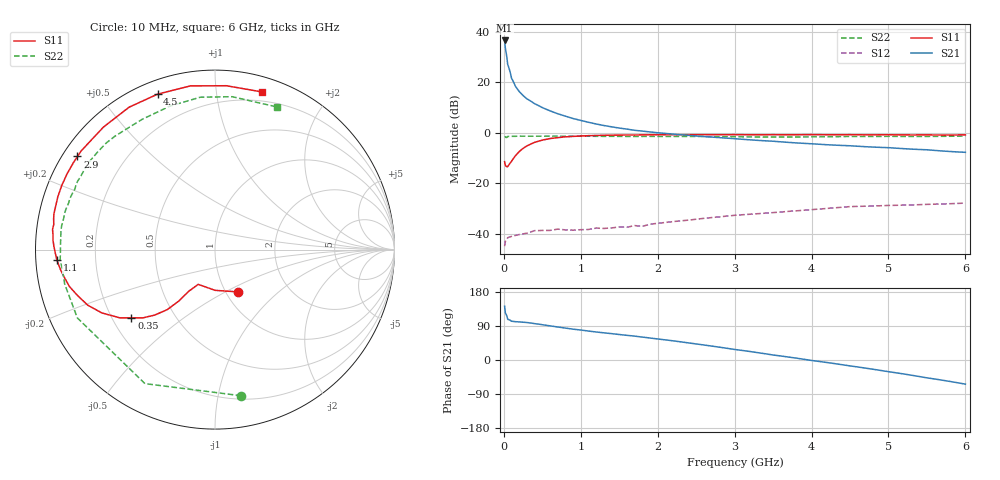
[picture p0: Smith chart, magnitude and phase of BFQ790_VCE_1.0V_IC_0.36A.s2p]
! (c) 2015  Infineon Technologies AG, Munich
! Infineon Technologies  Discrete & RF Semiconductors
! BFQ790
! VCE =  1.0 V,  IC = 0.36 A
! Common Emitter S-Parameters:  May 2015
# GHz  S  MA  R  50
!  f  S11  S21  S12  S22
! GHz  MAG  ANG  MAG  ANG  MAG  ANG  MAG  ANG
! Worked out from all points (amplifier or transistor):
!   77 points, 10 MHz to 6 GHz, reference 50 ohm
!   highest |S21| = 36.7 dB at 10 MHz (marker M1)
!   |S21| within 3 dB of that: start of sweep to 19.62 MHz
!   unconditionally stable (mu >= 1): 99.91 MHz to end of sweep
!   at 130 MHz: K = 1.19, MAG = 27.8 dB, |S12| = -40.8 dB
!   at 2.2 GHz: K = 1.61, MAG = 12.8 dB, |S12| = -35.1 dB
!   at 6 GHz: K = 1.41, MAG = 6.3 dB, |S12| = -27.8 dB
!   S11 on the Smith chart (normalised r, x): 10 MHz: 1.14, -0.58; 350 MHz: 0.28, -0.33; 1.1 GHz: 0.06, -0.03; 2.9 GHz: 0.04, +0.31; 4.5 GHz: 0.06, +0.69; 6 GHz: 0.12, +1.34
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0.01  0.2697 -61.0  68.11 142.0  0.0057 48.3  0.8273 -79.8
0.02  0.227 -89.7  47.57 123.7  0.0071 33.3  0.8427 -117.6
0.05  0.2153 -115.8  22.91 107.3  0.0084 16.6  0.8561 -153.6
0.1  0.2738 -122.2  12.16 102.3  0.0089 11.5  0.8592 -167.1
0.15  0.3516 -125.2  8.446 101.1  0.0093 14.8  0.8575 -173.1
0.2  0.4274 -128.5  6.616 100.6  0.0097 14.6  0.865 -176.0
0.25  0.4953 -132.6  5.511 99.7  0.01 15.1  0.8618 -178.3
0.3  0.5539 -136.6  4.746 98.9  0.0103 12.9  0.8611 179.9
0.35  0.6016 -140.8  4.273 97.6  0.0109 13.6  0.861 178.5
0.4  0.6521 -144.3  3.802 96.0  0.0116 14.3  0.8614 177.2
0.5  0.7219 -150.7  3.181 93.1  0.0117 13.0  0.8624 175.0
0.6  0.7737 -156.4  2.746 90.1  0.0117 16.2  0.8648 172.9
0.8  0.8365 -165.7  2.152 84.2  0.012 13.4  0.8615 169.5
1.1  0.8827 -176.2  1.627 76.4  0.0122 15.0  0.8606 164.8
1.5  0.9063 174.7  1.249 67.3  0.0137 18.0  0.8554 159.4
2.1  0.9212 163.4  0.978 53.1  0.0168 19.7  0.8524 150.3
2.9  0.9254 145.9  0.788 30.9  0.0225 12.0  0.845 133.5
3.1  0.923 141.4  0.749 25.2  0.0239 8.7  0.8373 128.9
4.1  0.9233 119.0  0.597 -3.9  0.031 -6.8  0.8381 105.0
4.5  0.9232 110.3  0.557 -15.6  0.0347 -15.2  0.8531 95.5
5.1  0.9173 96.1  0.499 -33.8  0.0368 -28.8  0.8544 81.5
6  0.9169 73.3  0.413 -63.7  0.0407 -50.6  0.8667 66.5
